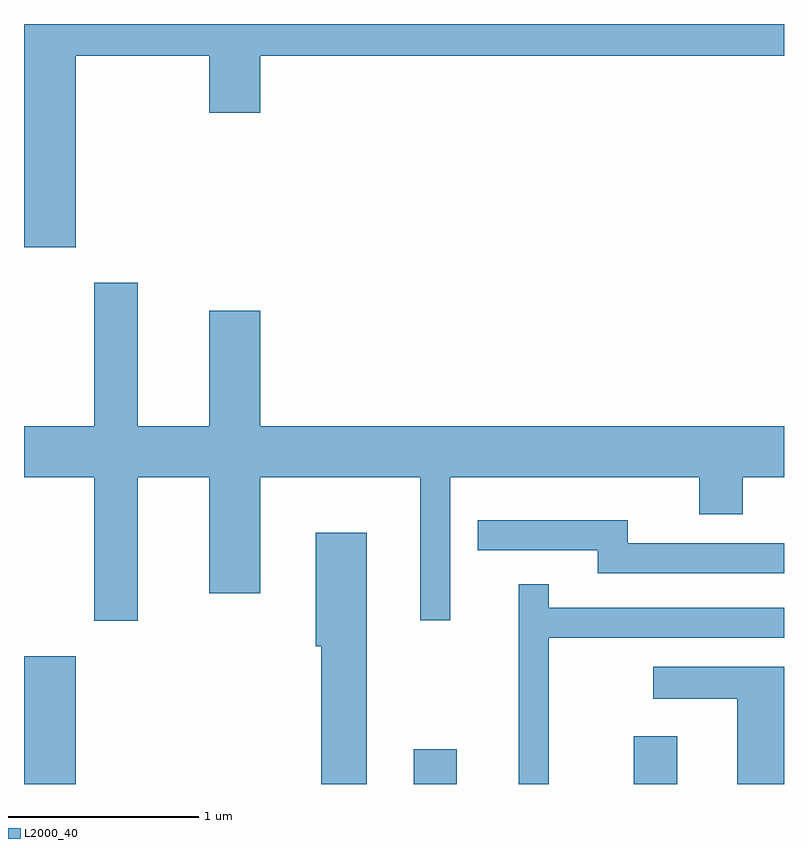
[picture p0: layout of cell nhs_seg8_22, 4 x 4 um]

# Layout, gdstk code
import gdstk
lib = gdstk.Library(unit=1e-6, precision=1e-09)
def R(c, l, rs):  # rectangles x0, y0, x1, y1
    for r in rs: c.add(gdstk.rectangle(r[:2], r[2:], *l))
def P(c, l, *ps):  # polygons
    for p in ps: c.add(gdstk.Polygon(p, *l))
L2000_40 = (2000, 40)

nhs_seg8_22 = lib.new_cell('nhs_seg8_22')
R(nhs_seg8_22, L2000_40, [(185.611,1850.342,185.884,1851.014), (187.661,1850.342,187.889,1850.524), (188.821,1850.342,189.049,1850.594)])
P(nhs_seg8_22, L2000_40, [(185.884,1854.176),(186.586,1854.176),(186.586,1853.876),(186.854,1853.876),(186.854,1854.176),(189.611,1854.176),(189.611,1854.342),(185.611,1854.342),(185.611,1853.166),(185.884,1853.166)],
  [(186.209,1851.956),(186.586,1851.956),(186.586,1851.346),(186.854,1851.346),(186.854,1851.956),(187.696,1851.956),(187.696,1851.203),(187.854,1851.203),(187.854,1851.956),(189.166,1851.956),(189.166,1851.761),(189.394,1851.761),(189.394,1851.956),(189.611,1851.956),(189.611,1852.224),(186.854,1852.224),(186.854,1852.834),(186.586,1852.834),(186.586,1852.224),(186.209,1852.224),(186.209,1852.979),(185.981,1852.979),(185.981,1852.224),(185.611,1852.224),(185.611,1851.956),(185.981,1851.956),(185.981,1851.201),(186.209,1851.201)],
  [(189.611,1851.609),(188.789,1851.609),(188.789,1851.729),(187.998,1851.729),(187.998,1851.571),(188.631,1851.571),(188.631,1851.451),(189.611,1851.451)],
  [(187.414,1851.664),(187.146,1851.664),(187.146,1851.066),(187.176,1851.066),(187.176,1850.342),(187.414,1850.342)],
  [(188.374,1851.111),(189.611,1851.111),(189.611,1851.269),(188.374,1851.269),(188.374,1851.393),(188.216,1851.393),(188.216,1850.342),(188.374,1850.342)],
  [(189.611,1850.959),(188.923,1850.959),(188.923,1850.791),(189.366,1850.791),(189.366,1850.342),(189.611,1850.342)])

lib.write_gds('nhs_seg8_22.gds')
